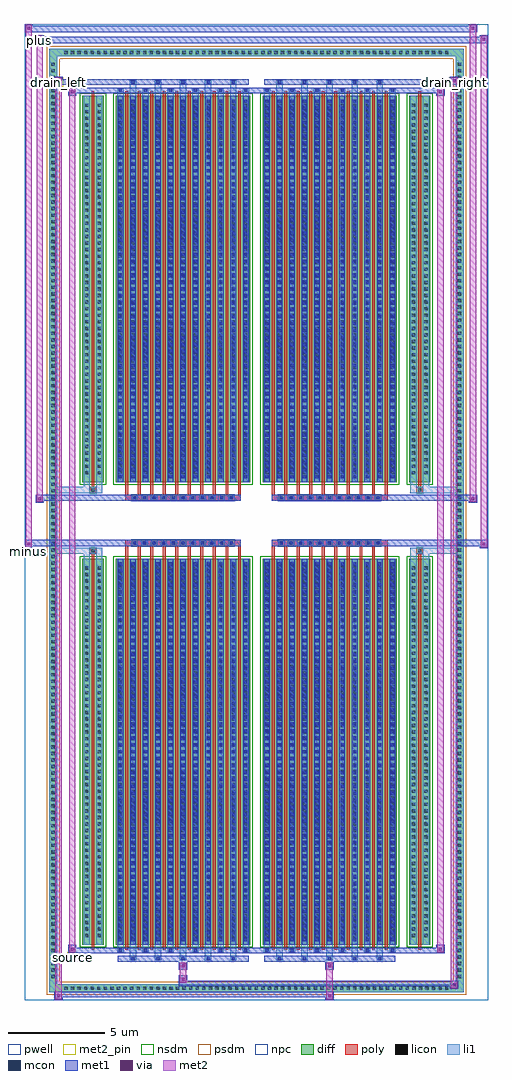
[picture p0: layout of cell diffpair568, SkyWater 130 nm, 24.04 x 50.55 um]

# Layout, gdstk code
import gdstk
lib = gdstk.Library(unit=1e-6, precision=5e-09)
def R(c, l, rs):  # rectangles x0, y0, x1, y1
    for r in rs: c.add(gdstk.rectangle(r[:2], r[2:], *l))
def A(c, l, x, y, w, h, nx, ny, dx, dy):  # array of equal rectangles
    R(c, l, [(x+i*dx, y+j*dy, x+i*dx+w, y+j*dy+h) for i in range(nx) for j in range(ny)])
def P(c, l, *ps):  # polygons
    for p in ps: c.add(gdstk.Polygon(p, *l))
pwell = (64, 44)
diff = (65, 20)
poly = (66, 20)
licon = (66, 44)
li1 = (67, 20)
mcon = (67, 44)
met1 = (68, 20)
via = (68, 44)
met2_pin = (69, 16)
met2 = (69, 20)
nsdm = (93, 44)
psdm = (94, 20)
npc = (95, 20)

diffpair568 = lib.new_cell('diffpair568')
R(diffpair568, pwell, [(-12,-24.84,12,25.71), (-9.32,-23.03,-0.01,-0.805), (0.01,-23.03,9.32,-0.805), (-9.32,0.805,-0.01,23.03), (0.01,0.805,9.32,23.03)])
A(diffpair568, diff, -10.065, -24.44, 0.41, 0.41, 59, 2, 0.34, 48.47)
A(diffpair568, diff, -10.73, -23.835, 0.41, 0.41, 1, 140, 0, 0.34)
A(diffpair568, diff, 10.32, -23.835, 0.41, 0.41, 1, 140, 0, 0.34)
R(diffpair568, diff, [(-10.065,-24.44,10.065,-24.03), (-10.73,-23.835,-10.32,23.835), (10.32,-23.835,10.73,23.835), (-9.01,-21.985,-7.91,-1.985), (-7.27,-21.985,-0.32,-1.985), (0.32,-21.985,7.27,-1.985), (7.91,-21.985,9.01,-1.985), (-9.01,1.985,-7.91,21.985), (-7.27,1.985,-0.32,21.985), (0.32,1.985,7.27,21.985), (7.91,1.985,9.01,21.985), (-10.065,24.03,10.065,24.44)])
P(diffpair568, diff, [(10.73,24.44),(-10.73,24.44),(-10.73,-24.03),(-10.32,-24.03),(-10.32,24.03),(10.32,24.03),(10.32,-24.03),(-10.32,-24.03),(-10.73,-24.03),(-10.73,-24.44),(10.73,-24.44)])
A(diffpair568, poly, -6.795, -22.235, 0.15, 20.5, 10, 2, 0.65, 23.97)
A(diffpair568, poly, 0.795, -22.235, 0.15, 20.5, 10, 2, 0.65, 23.97)
A(diffpair568, poly, -6.795, -1.735, 0.15, 0.4, 10, 2, 0.65, 3.07)
A(diffpair568, poly, 0.795, -1.735, 0.15, 0.4, 10, 2, 0.65, 3.07)
A(diffpair568, poly, -6.46, -1.335, 0.33, 0.33, 11, 2, 0.5, 2.34)
A(diffpair568, poly, 1.13, -1.335, 0.33, 0.33, 11, 2, 0.5, 2.34)
R(diffpair568, poly, [(-8.535,-22.235,-8.385,-1.735), (8.385,-22.235,8.535,-1.735), (-8.625,-1.735,-8.295,-1.405), (-8.625,-1.735,-8.295,-1.405), (8.295,-1.735,8.625,-1.405), (8.295,-1.735,8.625,-1.405), (-6.795,-1.335,-0.795,-1.005), (0.795,-1.335,6.795,-1.005), (-6.795,1.005,-0.795,1.335), (0.795,1.005,6.795,1.335), (-8.625,1.405,-8.295,1.735), (-8.625,1.405,-8.295,1.735), (8.295,1.405,8.625,1.735), (8.295,1.405,8.625,1.735), (-8.535,1.735,-8.385,22.235), (8.385,1.735,8.535,22.235)])
A(diffpair568, licon, -9.945, -24.32, 0.17, 0.17, 59, 2, 0.34, 48.47)
A(diffpair568, licon, -10.61, -23.715, 0.17, 0.17, 1, 140, 0, 0.34)
A(diffpair568, licon, 10.44, -23.715, 0.17, 0.17, 1, 140, 0, 0.34)
A(diffpair568, licon, -8.87, -21.59, 0.17, 0.17, 1, 57, 0, 0.34)
A(diffpair568, licon, -8.22, -21.59, 0.17, 0.17, 1, 57, 0, 0.34)
A(diffpair568, licon, -7.13, -21.59, 0.17, 0.17, 11, 57, 0.65, 0.34)
A(diffpair568, licon, 0.46, -21.59, 0.17, 0.17, 11, 57, 0.65, 0.34)
A(diffpair568, licon, 8.05, -21.59, 0.17, 0.17, 1, 57, 0, 0.34)
A(diffpair568, licon, 8.7, -21.59, 0.17, 0.17, 1, 57, 0, 0.34)
A(diffpair568, licon, -6.38, -1.255, 0.17, 0.17, 11, 2, 0.5, 2.34)
A(diffpair568, licon, 1.21, -1.255, 0.17, 0.17, 11, 2, 0.5, 2.34)
A(diffpair568, licon, -8.87, 2.38, 0.17, 0.17, 1, 57, 0, 0.34)
A(diffpair568, licon, -8.22, 2.38, 0.17, 0.17, 1, 57, 0, 0.34)
A(diffpair568, licon, -7.13, 2.38, 0.17, 0.17, 11, 57, 0.65, 0.34)
A(diffpair568, licon, 0.46, 2.38, 0.17, 0.17, 11, 57, 0.65, 0.34)
A(diffpair568, licon, 8.05, 2.38, 0.17, 0.17, 1, 57, 0, 0.34)
A(diffpair568, licon, 8.7, 2.38, 0.17, 0.17, 1, 57, 0, 0.34)
R(diffpair568, licon, [(-8.545,-1.655,-8.375,-1.485), (8.375,-1.655,8.545,-1.485), (-8.545,1.485,-8.375,1.655), (8.375,1.485,8.545,1.655)])
A(diffpair568, li1, -10.025, -24.4, 0.33, 0.33, 59, 2, 0.34, 48.47)
A(diffpair568, li1, -10.69, -23.795, 0.33, 0.33, 1, 140, 0, 0.34)
A(diffpair568, li1, 10.36, -23.795, 0.33, 0.33, 1, 140, 0, 0.34)
A(diffpair568, li1, -6.56, -22.79, 0.33, 0.805, 5, 2, 1.3, 44.775)
A(diffpair568, li1, -6.48, -22.79, 0.17, 0.17, 5, 2, 1.3, 45.41)
A(diffpair568, li1, 1.03, -22.79, 0.33, 0.805, 5, 2, 1.3, 44.775)
A(diffpair568, li1, 1.11, -22.79, 0.17, 0.17, 5, 2, 1.3, 45.41)
A(diffpair568, li1, -7.21, -22.36, 0.33, 0.375, 6, 2, 1.3, 44.345)
A(diffpair568, li1, -7.13, -22.36, 0.17, 0.17, 6, 2, 1.3, 44.55)
A(diffpair568, li1, 0.38, -22.36, 0.33, 0.375, 6, 2, 1.3, 44.345)
A(diffpair568, li1, 0.46, -22.36, 0.17, 0.17, 6, 2, 1.3, 44.55)
A(diffpair568, li1, -7.21, -21.985, 0.33, 20, 11, 2, 0.65, 23.97)
A(diffpair568, li1, 0.38, -21.985, 0.33, 20, 11, 2, 0.65, 23.97)
A(diffpair568, li1, -7.13, -21.79, 0.17, 0.17, 11, 55, 0.65, 0.36)
A(diffpair568, li1, -7.13, -21.79, 0.17, 19.61, 11, 2, 0.65, 23.97)
A(diffpair568, li1, 0.46, -21.79, 0.17, 0.17, 11, 55, 0.65, 0.36)
A(diffpair568, li1, 0.46, -21.79, 0.17, 19.61, 11, 2, 0.65, 23.97)
A(diffpair568, li1, -8.95, -21.67, 0.33, 0.33, 1, 57, 0, 0.34)
A(diffpair568, li1, -8.3, -21.67, 0.33, 0.33, 1, 57, 0, 0.34)
A(diffpair568, li1, -7.21, -21.67, 0.33, 0.33, 11, 57, 0.65, 0.34)
A(diffpair568, li1, 0.38, -21.67, 0.33, 0.33, 11, 57, 0.65, 0.34)
A(diffpair568, li1, 7.97, -21.67, 0.33, 0.33, 1, 57, 0, 0.34)
A(diffpair568, li1, 8.62, -21.67, 0.33, 0.33, 1, 57, 0, 0.34)
A(diffpair568, li1, -6.46, -1.335, 0.33, 0.33, 11, 2, 0.5, 2.34)
A(diffpair568, li1, 1.13, -1.335, 0.33, 0.33, 11, 2, 0.5, 2.34)
A(diffpair568, li1, -7.13, 2.18, 0.17, 0.17, 11, 55, 0.65, 0.36)
A(diffpair568, li1, 0.46, 2.18, 0.17, 0.17, 11, 55, 0.65, 0.36)
A(diffpair568, li1, -8.95, 2.3, 0.33, 0.33, 1, 57, 0, 0.34)
A(diffpair568, li1, -8.3, 2.3, 0.33, 0.33, 1, 57, 0, 0.34)
A(diffpair568, li1, -7.21, 2.3, 0.33, 0.33, 11, 57, 0.65, 0.34)
A(diffpair568, li1, 0.38, 2.3, 0.33, 0.33, 11, 57, 0.65, 0.34)
A(diffpair568, li1, 7.97, 2.3, 0.33, 0.33, 1, 57, 0, 0.34)
A(diffpair568, li1, 8.62, 2.3, 0.33, 0.33, 1, 57, 0, 0.34)
R(diffpair568, li1, [(-10.73,-24.44,-10.32,-24.03), (-10.73,-24.44,-10.32,-24.03), (-10.32,-24.44,10.32,-24.03), (10.32,-24.44,10.73,-24.03), (10.32,-24.44,10.73,-24.03), (-10.73,-24.03,-10.32,24.03), (10.32,-24.03,10.73,24.03), (-8.95,-21.985,-8.62,-1.985), (-8.3,-21.985,-7.97,-1.985), (7.97,-21.985,8.3,-1.985), (8.62,-21.985,8.95,-1.985), (-8.95,-1.985,-8.62,-1.405), (-8.3,-1.985,-7.97,-1.405), (7.97,-1.985,8.3,-1.405), (8.62,-1.985,8.95,-1.405), (-10.73,-1.735,-8.625,-1.405), (-8.95,-1.735,-8.625,-1.405), (-8.625,-1.735,-8.295,-1.405), (-8.295,-1.735,-7.97,-1.405), (7.97,-1.735,8.295,-1.405), (8.295,-1.735,8.625,-1.405), (8.295,-1.735,10.73,-1.405), (8.625,-1.735,8.95,-1.405), (-10.73,1.405,-8.625,1.735), (-8.95,1.405,-8.625,1.735), (-8.95,1.405,-8.62,1.985), (-8.625,1.405,-8.295,1.735), (-8.3,1.405,-7.97,1.985), (-8.295,1.405,-7.97,1.735), (7.97,1.405,8.295,1.735), (7.97,1.405,8.3,1.985), (8.295,1.405,8.625,1.735), (8.295,1.405,10.73,1.735), (8.62,1.405,8.95,1.985), (8.625,1.405,8.95,1.735), (-8.95,1.985,-8.62,21.985), (-8.3,1.985,-7.97,21.985), (7.97,1.985,8.3,21.985), (8.62,1.985,8.95,21.985), (-10.73,24.03,-10.32,24.44), (-10.73,24.03,-10.32,24.44), (-10.32,24.03,10.32,24.44), (10.32,24.03,10.73,24.44), (10.32,24.03,10.73,24.44)])
A(diffpair568, mcon, -6.48, -22.79, 0.17, 0.17, 5, 2, 1.3, 45.41)
A(diffpair568, mcon, 1.11, -22.79, 0.17, 0.17, 5, 2, 1.3, 45.41)
A(diffpair568, mcon, -7.13, -22.36, 0.17, 0.17, 6, 2, 1.3, 44.55)
A(diffpair568, mcon, 0.46, -22.36, 0.17, 0.17, 6, 2, 1.3, 44.55)
A(diffpair568, mcon, -7.13, -21.79, 0.17, 0.17, 11, 55, 0.65, 0.36)
A(diffpair568, mcon, 0.46, -21.79, 0.17, 0.17, 11, 55, 0.65, 0.36)
A(diffpair568, mcon, -6.38, -1.255, 0.17, 0.17, 11, 2, 0.5, 2.34)
A(diffpair568, mcon, 1.21, -1.255, 0.17, 0.17, 11, 2, 0.5, 2.34)
A(diffpair568, mcon, -7.13, 2.18, 0.17, 0.17, 11, 55, 0.65, 0.36)
A(diffpair568, mcon, 0.46, 2.18, 0.17, 0.17, 11, 55, 0.65, 0.36)
A(diffpair568, met1, -6.54, -22.85, 0.29, 0.29, 5, 2, 1.3, 45.41)
A(diffpair568, met1, 1.05, -22.85, 0.29, 0.29, 5, 2, 1.3, 45.41)
A(diffpair568, met1, -7.19, -22.42, 0.29, 0.29, 6, 2, 1.3, 44.55)
A(diffpair568, met1, 0.4, -22.42, 0.29, 0.29, 6, 2, 1.3, 44.55)
A(diffpair568, met1, -7.19, -21.985, 0.29, 20, 11, 2, 0.65, 23.97)
A(diffpair568, met1, 0.4, -21.985, 0.29, 20, 11, 2, 0.65, 23.97)
A(diffpair568, met1, -7.19, -21.85, 0.29, 0.29, 11, 55, 0.65, 0.36)
A(diffpair568, met1, 0.4, -21.85, 0.29, 0.29, 11, 55, 0.65, 0.36)
A(diffpair568, met1, -6.44, -1.315, 0.29, 0.29, 11, 2, 0.5, 2.34)
A(diffpair568, met1, 1.15, -1.315, 0.29, 0.29, 11, 2, 0.5, 2.34)
A(diffpair568, met1, -7.19, 2.12, 0.29, 0.29, 11, 55, 0.65, 0.36)
A(diffpair568, met1, 0.4, 2.12, 0.29, 0.29, 11, 55, 0.65, 0.36)
R(diffpair568, met1, [(-10.46,-24.84,-10.03,-24.41), (3.58,-24.84,4.01,-24.41), (-10.46,-24.7,4.01,-24.41), (10.03,-24.27,10.46,-23.84), (-4.01,-24.13,10.46,-23.84), (-4.01,-23.99,-3.58,-23.56), (-4.01,-23.28,-3.58,-22.85), (3.58,-23.28,4.01,-22.85), (-7.19,-22.85,-0.4,-22.56), (0.4,-22.85,7.19,-22.56), (-9.75,-22.42,-9.32,-21.99), (-9.75,-22.42,-7.19,-22.13), (-7.19,-22.42,-0.4,-22.13), (-0.4,-22.42,0.4,-22.13), (0.4,-22.42,7.19,-22.13), (7.19,-22.42,9.75,-22.13), (9.32,-22.42,9.75,-21.99), (-12,-1.435,-11.57,-1.005), (11.57,-1.435,12,-1.005), (-12,-1.335,-0.795,-1.005), (-6.795,-1.335,-0.795,-1.005), (0.795,-1.335,6.795,-1.005), (0.795,-1.335,12,-1.005), (-11.43,0.905,-11,1.335), (11,0.905,11.43,1.335), (-11.43,1.005,-6.795,1.335), (-6.795,1.005,-0.795,1.335), (0.795,1.005,6.795,1.335), (6.795,1.005,11.43,1.335), (-9.75,21.99,-9.32,22.42), (9.32,21.99,9.75,22.42), (-9.75,22.13,-7.19,22.42), (-7.19,22.13,-0.4,22.42), (-0.4,22.13,0.4,22.42), (0.4,22.13,7.19,22.42), (7.19,22.13,9.75,22.42), (-10.46,22.56,-10.03,22.99), (-10.46,22.56,-7.19,22.85), (-7.19,22.56,-0.4,22.85), (0.4,22.56,7.19,22.85), (7.19,22.56,10.46,22.85), (10.03,22.56,10.46,22.99), (-11.43,24.71,-11,25.14), (-11.43,24.71,-9.32,25.04), (-9.32,24.71,9.32,25.04), (9.32,24.71,12,25.04), (11.57,24.71,12,25.14), (-12,25.28,-11.57,25.71), (-12,25.28,-9.32,25.61), (-9.32,25.28,9.32,25.61), (9.32,25.28,11.43,25.61), (11,25.28,11.43,25.71)])
R(diffpair568, via, [(-10.32,-24.7,-10.17,-24.55), (3.72,-24.7,3.87,-24.55), (10.17,-24.13,10.32,-23.98), (-3.87,-23.85,-3.72,-23.7), (-3.87,-23.14,-3.72,-22.99), (3.72,-23.14,3.87,-22.99), (-9.61,-22.28,-9.46,-22.13), (9.46,-22.28,9.61,-22.13), (-11.86,-1.295,-11.71,-1.145), (11.71,-1.295,11.86,-1.145), (-11.29,1.045,-11.14,1.195), (11.14,1.045,11.29,1.195), (-9.61,22.13,-9.46,22.28), (9.46,22.13,9.61,22.28), (-10.32,22.7,-10.17,22.85), (10.17,22.7,10.32,22.85), (-11.29,24.85,-11.14,25), (11.71,24.85,11.86,25), (-11.86,25.42,-11.71,25.57), (11.14,25.42,11.29,25.57)])
R(diffpair568, met2_pin, [(-9.785,-22.87,-9.285,-22.37), (-12.035,-1.885,-11.535,-1.385), (-10.495,22.44,-9.995,22.94), (9.995,22.44,10.495,22.94), (-11.465,24.59,-10.965,25.09)])
R(diffpair568, met2, [(-10.41,-24.79,-10.08,-24.46), (-10.41,-24.79,-10.08,22.94), (3.63,-24.79,3.96,-24.46), (3.63,-24.46,3.96,-23.23), (10.08,-24.22,10.41,-23.89), (10.08,-24.22,10.41,22.94), (-3.96,-23.94,-3.63,-23.61), (-3.96,-23.61,-3.63,-23.23), (-3.96,-23.23,-3.63,-22.9), (3.63,-23.23,3.96,-22.9), (-9.7,-22.37,-9.37,-22.04), (-9.7,-22.37,-9.37,22.37), (9.37,-22.37,9.7,-22.04), (9.37,-22.37,9.7,22.37), (-11.95,-1.385,-11.62,-1.055), (-11.95,-1.385,-11.62,25.66), (11.62,-1.385,11.95,-1.055), (11.62,-1.385,11.95,25.09), (-11.38,0.955,-11.05,1.285), (-11.38,0.955,-11.05,25.09), (11.05,0.955,11.38,1.285), (11.05,0.955,11.38,25.66), (-9.7,22.04,-9.37,22.37), (9.37,22.04,9.7,22.37), (-10.41,22.61,-10.08,22.94), (10.08,22.61,10.41,22.94), (-11.38,24.76,-11.05,25.09), (11.62,24.76,11.95,25.09), (-11.95,25.33,-11.62,25.66), (11.05,25.33,11.38,25.66)])
P(diffpair568, met2, [(11.95,-1.385),(11.95,-1.385),(11.95,-1.055),(11.95,-1.055)],
  [(11.95,24.76),(11.95,24.76),(11.95,25.09),(11.95,25.09)],
  [(-11.62,-1.385),(-11.62,-1.385),(-11.62,-1.055),(-11.62,-1.055)],
  [(-11.62,25.33),(-11.62,25.33),(-11.62,25.66),(-11.62,25.66)],
  [(11.38,0.955),(11.38,0.955),(11.38,1.285),(11.38,1.285)],
  [(11.38,25.33),(11.38,25.33),(11.38,25.66),(11.38,25.66)],
  [(-11.05,0.955),(-11.05,0.955),(-11.05,1.285),(-11.05,1.285)],
  [(-11.05,24.76),(-11.05,24.76),(-11.05,25.09),(-11.05,25.09)],
  [(-10.08,-24.79),(-10.08,-24.79),(-10.08,-24.46),(-10.08,-24.46)],
  [(-10.08,22.61),(-10.08,22.61),(-10.08,22.94),(-10.08,22.94)],
  [(10.41,-24.22),(10.41,-24.22),(10.41,-23.89),(10.41,-23.89)],
  [(10.41,22.61),(10.41,22.61),(10.41,22.94),(10.41,22.94)],
  [(-9.37,-22.37),(-9.37,-22.37),(-9.37,-22.04),(-9.37,-22.04)],
  [(-9.37,22.04),(-9.37,22.04),(-9.37,22.37),(-9.37,22.37)],
  [(9.7,-22.37),(9.7,-22.37),(9.7,-22.04),(9.7,-22.04)],
  [(9.7,22.04),(9.7,22.04),(9.7,22.37),(9.7,22.37)])
R(diffpair568, nsdm, [(-9.14,-22.115,-7.78,-1.855), (-7.4,-22.115,-0.19,-1.855), (0.19,-22.115,7.4,-1.855), (7.78,-22.115,9.14,-1.855), (-9.14,1.855,-7.78,22.115), (-7.4,1.855,-0.19,22.115), (0.19,1.855,7.4,22.115), (7.78,1.855,9.14,22.115)])
P(diffpair568, psdm, [(10.86,24.57),(-10.86,24.57),(-10.86,-23.9),(-10.19,-23.9),(-10.19,23.9),(10.19,23.9),(10.19,-23.9),(-10.19,-23.9),(-10.86,-23.9),(-10.86,-24.57),(10.86,-24.57)])
A(diffpair568, npc, -6.48, -1.355, 0.37, 0.37, 11, 2, 0.5, 2.34)
A(diffpair568, npc, 1.11, -1.355, 0.37, 0.37, 11, 2, 0.5, 2.34)
R(diffpair568, npc, [(-8.645,-1.755,-8.275,-1.385), (8.275,-1.755,8.645,-1.385), (-6.48,-1.355,-5.61,-0.985), (-6.48,-1.355,-5.61,-0.985), (-5.98,-1.355,-5.11,-0.985), (-5.98,-1.355,-5.11,-0.985), (-5.48,-1.355,-4.61,-0.985), (-5.48,-1.355,-4.61,-0.985), (-4.98,-1.355,-4.11,-0.985), (-4.98,-1.355,-4.11,-0.985), (-4.48,-1.355,-3.61,-0.985), (-4.48,-1.355,-3.61,-0.985), (-3.98,-1.355,-3.11,-0.985), (-3.98,-1.355,-3.11,-0.985), (-3.48,-1.355,-2.61,-0.985), (-3.48,-1.355,-2.61,-0.985), (-2.98,-1.355,-2.11,-0.985), (-2.98,-1.355,-2.11,-0.985), (-2.48,-1.355,-1.61,-0.985), (-2.48,-1.355,-1.61,-0.985), (-1.98,-1.355,-1.11,-0.985), (-1.98,-1.355,-1.11,-0.985), (1.11,-1.355,1.98,-0.985), (1.11,-1.355,1.98,-0.985), (1.61,-1.355,2.48,-0.985), (1.61,-1.355,2.48,-0.985), (2.11,-1.355,2.98,-0.985), (2.11,-1.355,2.98,-0.985), (2.61,-1.355,3.48,-0.985), (2.61,-1.355,3.48,-0.985), (3.11,-1.355,3.98,-0.985), (3.11,-1.355,3.98,-0.985), (3.61,-1.355,4.48,-0.985), (3.61,-1.355,4.48,-0.985), (4.11,-1.355,4.98,-0.985), (4.11,-1.355,4.98,-0.985), (4.61,-1.355,5.48,-0.985), (4.61,-1.355,5.48,-0.985), (5.11,-1.355,5.98,-0.985), (5.11,-1.355,5.98,-0.985), (5.61,-1.355,6.48,-0.985), (5.61,-1.355,6.48,-0.985), (-6.48,0.985,-5.61,1.355), (-6.48,0.985,-5.61,1.355), (-5.98,0.985,-5.11,1.355), (-5.98,0.985,-5.11,1.355), (-5.48,0.985,-4.61,1.355), (-5.48,0.985,-4.61,1.355), (-4.98,0.985,-4.11,1.355), (-4.98,0.985,-4.11,1.355), (-4.48,0.985,-3.61,1.355), (-4.48,0.985,-3.61,1.355), (-3.98,0.985,-3.11,1.355), (-3.98,0.985,-3.11,1.355), (-3.48,0.985,-2.61,1.355), (-3.48,0.985,-2.61,1.355), (-2.98,0.985,-2.11,1.355), (-2.98,0.985,-2.11,1.355), (-2.48,0.985,-1.61,1.355), (-2.48,0.985,-1.61,1.355), (-1.98,0.985,-1.11,1.355), (-1.98,0.985,-1.11,1.355), (1.11,0.985,1.98,1.355), (1.11,0.985,1.98,1.355), (1.61,0.985,2.48,1.355), (1.61,0.985,2.48,1.355), (2.11,0.985,2.98,1.355), (2.11,0.985,2.98,1.355), (2.61,0.985,3.48,1.355), (2.61,0.985,3.48,1.355), (3.11,0.985,3.98,1.355), (3.11,0.985,3.98,1.355), (3.61,0.985,4.48,1.355), (3.61,0.985,4.48,1.355), (4.11,0.985,4.98,1.355), (4.11,0.985,4.98,1.355), (4.61,0.985,5.48,1.355), (4.61,0.985,5.48,1.355), (5.11,0.985,5.98,1.355), (5.11,0.985,5.98,1.355), (5.61,0.985,6.48,1.355), (5.61,0.985,6.48,1.355), (-8.645,1.385,-8.275,1.755), (8.275,1.385,8.645,1.755)])
diffpair568.add(gdstk.Label('minus', (-11.785,-1.635), layer=69, texttype=5))
diffpair568.add(gdstk.Label('drain_right', (10.245,22.69), layer=69, texttype=5))
diffpair568.add(gdstk.Label('drain_left', (-10.245,22.69), layer=69, texttype=5))
diffpair568.add(gdstk.Label('source', (-9.535,-22.62), layer=69, texttype=5))
diffpair568.add(gdstk.Label('plus', (-11.215,24.84), layer=69, texttype=5))

lib.write_gds('diffpair568.gds')
